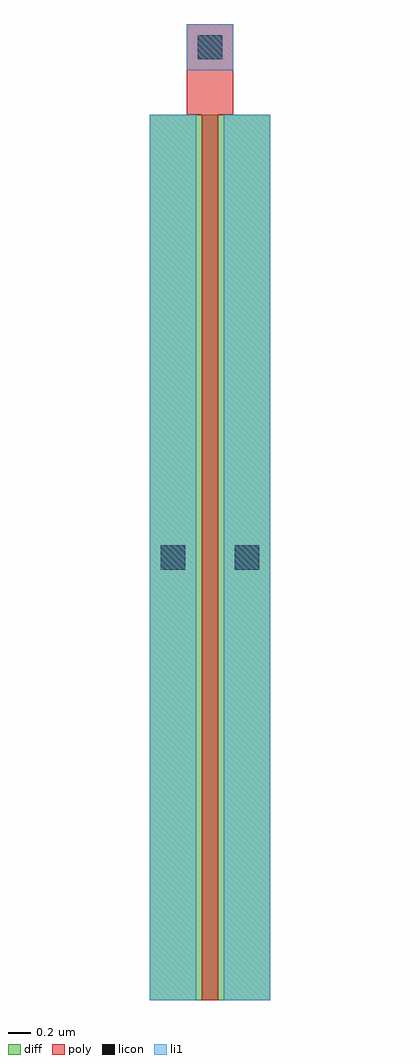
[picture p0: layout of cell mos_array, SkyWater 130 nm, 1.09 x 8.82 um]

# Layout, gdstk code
import gdstk
lib = gdstk.Library(unit=1e-6, precision=1e-09)
def R(c, l, rs):  # rectangles x0, y0, x1, y1
    for r in rs: c.add(gdstk.rectangle(r[:2], r[2:], *l))
diff = (65, 20)
poly = (66, 20)
licon = (66, 44)
li1 = (67, 20)

mos_array = lib.new_cell('mos_array')
R(mos_array, diff, [(0,0,1.09,8)])
R(mos_array, poly, [(0.47,0,0.62,8), (0.335,8,0.755,8.82)])
R(mos_array, licon, [(0.1,3.89,0.32,4.11), (0.77,3.89,0.99,4.11), (0.435,8.5,0.655,8.72)])
R(mos_array, li1, [(0,0,0.42,8), (0.67,0,1.09,8), (0.335,8.4,0.755,8.82)])

lib.write_gds('mos_array.gds')
